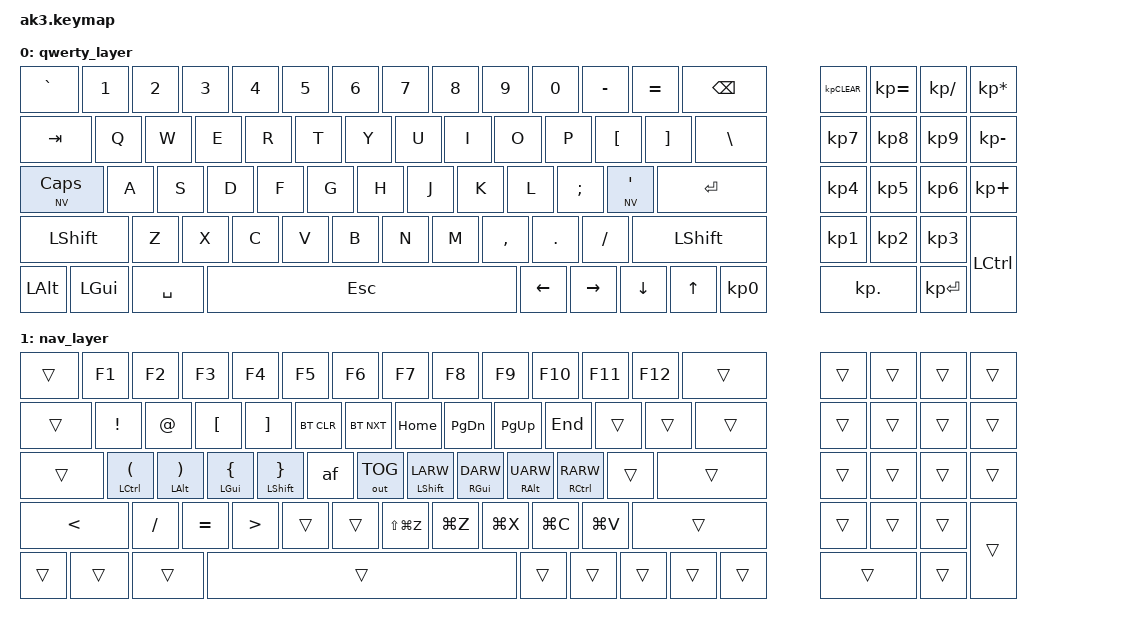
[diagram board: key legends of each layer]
/*
 * Copyright (c) 2021 Nick Winans
 *
 * SPDX-License-Identifier: MIT
 */
#include <behaviors.dtsi>
#include <dt-bindings/zmk/keys.h>
#include <dt-bindings/zmk/bt.h>
#include <dt-bindings/zmk/outputs.h>

#ifndef LAYOUT
    #define LAYOUT 0
#endif

#define QWERTY 0
#define ENGRAMMER_BASE 1
#define ENGRAMMER_SHIFTED 2
#define CASTER 3

#define HM_TAPPING_TERM 280
#define HM_TAPPING_TERM_FAST 200
#define HM_RPI 150
#define HM_RPI_FAST 50

#define NV 1

/ {
	combos {
        compatible = "zmk,combos";
        combo_studio {
            timeout-ms = <50>;
            key-positions = <30 31>;
			layers = <NV>;
			require-prior-idle-ms = <200>;
            bindings = <&studio_unlock>;
        };
	};
	
	behaviors {
		hl: home_row_mod_left {
			compatible = "zmk,behavior-hold-tap";
			#binding-cells = <2>;
			flavor = "balanced";
			tapping-term-ms = <HM_TAPPING_TERM>;
			require-prior-idle-ms = <HM_RPI>;
			hold-trigger-key-positions = < KEYS_R THUMBS NP>;
			hold-trigger-on-release;
			bindings = <&kp>, <&kp>;
			};

		hr: home_row_mod_right {
			compatible = "zmk,behavior-hold-tap";
			#binding-cells = <2>;
			flavor = "balanced";
			tapping-term-ms = <HM_TAPPING_TERM>;
			require-prior-idle-ms = <HM_RPI>;
			hold-trigger-key-positions = < KEYS_L THUMBS NP>;
			hold-trigger-on-release;
			bindings = <&kp>, <&kp>;
			};

		hls: home_row_mod_left_shift {
			compatible = "zmk,behavior-hold-tap";
			#binding-cells = <2>;
			flavor = "balanced";
			tapping-term-ms = <HM_TAPPING_TERM_FAST>;
			require-prior-idle-ms = <HM_RPI_FAST>;
			hold-trigger-key-positions = < KEYS_R THUMBS NP>;
			bindings = <&kp>, <&kp>;
			hold-trigger-on-release;
			};

		hrs: home_row_mod_right_shift {
			compatible = "zmk,behavior-hold-tap";
			#binding-cells = <2>;
			flavor = "balanced";
			tapping-term-ms = <HM_TAPPING_TERM_FAST>;
			require-prior-idle-ms = <HM_RPI_FAST>;
			hold-trigger-key-positions = < KEYS_L THUMBS NP>;
			bindings = <&kp>, <&kp>;
			hold-trigger-on-release;
			};

		mqt: momentary-quick-tap {
			compatible = "zmk,behavior-hold-tap";
			#binding-cells = <2>;
			flavor = "tap-preferred";
			tapping-term-ms = <200>;
			quick-tap-ms = <125>;
			require-prior-idle-ms = <HM_RPI>;
			bindings = <&mo>, <&kp>;
			};

		cwe: tap_dance_mod_tap {
			compatible = "zmk,behavior-tap-dance";
			#binding-cells = <0>;
			tapping-term-ms = <200>;
			bindings = <&kp ESC>, <&caps_word>;
			};

		// except this one, which is handy for js
		ZMK_MACRO(af,
			wait-ms = <30>;
			tap-ms = <40>;
			bindings = <&kp EQUAL  &kp GT>;
		)
	};

//	M0487 Apple Standard Keyboard II
//	                    +-------+
//	                    | power |
//	                    +-------+
//	+---+---+---+---+---+---+---+---+---+---+---+---+---+-----+ +---+---+---+---+
//	| ` | 1 | 2 | 3 | 4 | 5 | 6 | 7 | 8 | 9 | 0 | - | = | bks | |clr| = | / | * |
//	+---------------------------------------------------------+ +---+---+---+---+
//	| tab | q | w | e | r | t | y | u | i | o | p | [ | ] | \ | | 7 | 8 | 9 | - |
//	+---------------------------------------------------------| +---+---+---+---+
//	| caps | a | s | d | f | g | h | j | k | l | ; | ' |return| | 4 | 5 | 6 | + |
//	+---------------------------------------------------------+ +---+---+---+---+
//	| shift  | z | x | c | v | b | n | m | , | . | / |  shift | | 1 | 2 | 3 |   |
//	+---------------------------------------------------------+ +-------+---|ent|
//	|ctrl|opt|comnd |                   | esc |lef|rig|dwn|up | |   0   | . |   |
//	+---------------------------------------------------------+ +-------+---+---+
//	
	keymap {
		compatible = "zmk,keymap";
		
	#if LAYOUT == ENGRAMMER_BASE
		engrammer_layer {
			bindings = < 
	&kp GRAVE &kp N1 &kp N2 &kp N3 &kp N4 &kp N5 &kp N6 &kp N7 &kp N8 &kp N9 &kp N0 &kp LBKT  &kp RBKT  &kp BSPC		&kp KP_CLEAR &kp KP_EQUAL &kp KP_DIVIDE &kp KP_MULTIPLY
	&kp TAB  &kp B  &kp Y  &kp O  &kp U  &kp SQT  &kp  SEMI &kp L &kp D  &kp W  &kp V  &kp Z &kp EQUAL  &kp BSLH		&kp KP_N7 &kp KP_N8 &kp KP_N9 &kp KP_MINUS
	&mqt NV CAPS  &kp C  &kp I  &kp E  &kp A  &kp COMMA &kp DOT &kp H &kp T  &kp S &kp N &mqt NV Q &kp RET				&kp KP_N4 &kp KP_N5 &kp KP_N6 &kp KP_PLUS
	&kp LSHFT &kp G  &kp X  &kp J  &kp K  &kp MINUS  &kp FSLH   &kp R   &kp M  &kp F      &kp P        &kp LSHFT		&kp KP_N1 &kp KP_N2 &kp KP_N3 
	&kp LCTRL &kp LALT &kp LGUI             &kp SPACE              &kp ESC  &kp LEFT &kp RIGHT &kp DOWN   &kp UP        &kp KP_N0 &kp KP_DOT &kp KP_ENTER
			>;
		};
	#elif LAYOUT == ENGRAMMER_SHIFTED
		engrammer_layer {
			bindings = < 
	&kp GRAVE &kp N1 &kp N2 &kp N3 &kp N4 &kp N5 &kp N6 &kp N7 &kp N8 &kp N9 &kp N0 &kp LBKT  &kp RBKT  &kp BSPC							&kp KP_CLEAR &kp KP_EQUAL &kp KP_DIVIDE &kp KP_MULTIPLY
	&kp TAB  &kp B  &kp Y  &kp O  &kp U  &kp SQT  &kp  SEMI &kp L &kp D  &kp W  &kp V  &kp Z &kp EQUAL  &kp BSLH							&kp KP_N7 &kp KP_N8 &kp KP_N9 &kp KP_MINUS
	&mqt NV CAPS &hl LCTRL C &hl LALT I &hl LGUI E &hls LSHFT A &kp COMMA &kp DOT &hrs LSHFT H &hr RGUI T &hr RALT S &hr RCTRL N &mqt NV Q 	&kp RET	&kp KP_N4 &kp KP_N5 &kp KP_N6 &kp KP_PLUS
	&kp G      &kp X  &kp J  &kp K  &kp MINUS     &af     &kp FSLH   &kp R   &kp M  &kp F      &kp P       &kp G							&kp KP_N1 &kp KP_N2 &kp KP_N3 
	&kp GLOBE &cwe   &kp BSPC             &kp SPACE              &kp RET  &kp LEFT &kp DOWN &kp UP   &kp RIGHT       						&kp KP_N0 &kp KP_DOT &kp KP_ENTER
			>;
		};
	#elif LAYOUT == CASTER
		caster_layer {
			bindings = < 
	&kp GRAVE &kp N1 &kp N2 &kp N3 &kp N4 &kp N5 &kp N6 &kp N7 &kp N8 &kp N9 &kp N0 &kp LBKT  &kp RBKT  &kp BSPC							&kp KP_CLEAR &kp KP_EQUAL &kp KP_DIVIDE &kp KP_MULTIPLY
	&kp TAB  &kp B  &kp F  &kp D  &kp L  &kp X  &kp SEMI &kp P &kp O  &kp U  &kp Y  &kp Z &kp EQUAL  &kp BSLH							&kp KP_N7 &kp KP_N8 &kp KP_N9 &kp KP_MINUS
	&mqt NV CAPS &hl LCTRL C &hl LALT S &hl LGUI T &hls LSHFT R &kp MINUS &kp FSLH &hrs LSHFT N &hr RGUI A &hr RALT I &hr RCTRL H &mqt NV Q &kp RET	&kp KP_N4 &kp KP_N5 &kp KP_N6 &kp KP_PLUS
	&kp V      &kp W  &kp G  &kp M  &kp J &kp V &kp E  &kp K   &kp COMMA  &kp DOT      &kp SQT       &kp V							&kp KP_N1 &kp KP_N2 &kp KP_N3 
	&kp GLOBE &cwe   &kp SPACE             &kp E              &kp ESC  &kp LEFT &kp DOWN &kp UP   &kp RIGHT       						&kp KP_N0 &kp KP_DOT &kp KP_ENTER
			>;
		};
	#else
		qwerty_layer {
			bindings = <
	&kp GRAVE &kp N1 &kp N2 &kp N3 &kp N4 &kp N5 &kp N6 &kp N7 &kp N8 &kp N9 &kp N0 &kp MINUS &kp EQUAL &kp BSPC		&kp KP_CLEAR &kp KP_EQUAL &kp KP_DIVIDE &kp KP_MULTIPLY
	&kp TAB  &kp Q  &kp W  &kp E  &kp R  &kp T  &kp Y  &kp U  &kp I  &kp O  &kp P  &kp LBKT  &kp RBKT   &kp BSLH		&kp KP_N7 &kp KP_N8 &kp KP_N9 &kp KP_MINUS
	&mqt NV CAPS  &kp A  &kp S &kp D &kp F &kp G  &kp H  &kp J  &kp K  &kp L  &kp SEMI &mqt NV SQT &kp RET				&kp KP_N4 &kp KP_N5 &kp KP_N6 &kp KP_PLUS
	&kp LSHFT   &kp Z  &kp X  &kp C  &kp V  &kp B  &kp N  &kp M  &kp COMMA &kp DOT &kp FSLH            &kp LSHFT		&kp KP_N1 &kp KP_N2 &kp KP_N3 
	&kp LCTRL &kp LALT &kp LGUI             &kp SPACE              &kp ESC  &kp LEFT &kp RIGHT &kp DOWN   &kp UP        &kp KP_N0 &kp KP_DOT &kp KP_ENTER
			>;
		};
	#endif

		nav_layer {
			bindings = < 
	&trans &kp F1 &kp F2 &kp F3 &kp F4 &kp F5 &kp F6 &kp F7 &kp F8 &kp F9 &kp F10 &kp F11  &kp F12  &trans															&trans &trans &trans &trans
	&trans &kp EXCL &kp AT  &kp LBKT &kp RBKT  &bt BT_CLR   &bt BT_NXT  &kp HOME  &kp PG_DN &kp PG_UP  &kp END &trans &trans  &trans								&trans &trans &trans &trans
	&trans &hl LCTRL LPAR &hl LALT RPAR &hl LGUI LBRC &hls LSHFT RBRC  &af &out OUT_TOG &hrs LSHFT LARW &hr RGUI DARW &hr RALT UARW &hr RCTRL RARW  &trans  &trans  &trans &trans &trans &trans
	&kp LT &kp SLASH  &kp EQUAL &kp GT &trans  &trans &kp LS(LG(Z))  &kp LG(Z)  &kp LG(X) &kp LG(C)  &kp LG(V)  &trans												&trans &trans &trans 
	&trans &trans &trans             &trans              &trans  &trans &trans &trans   &trans       												    	        &trans &trans &trans
			>;
		};
	};
};


